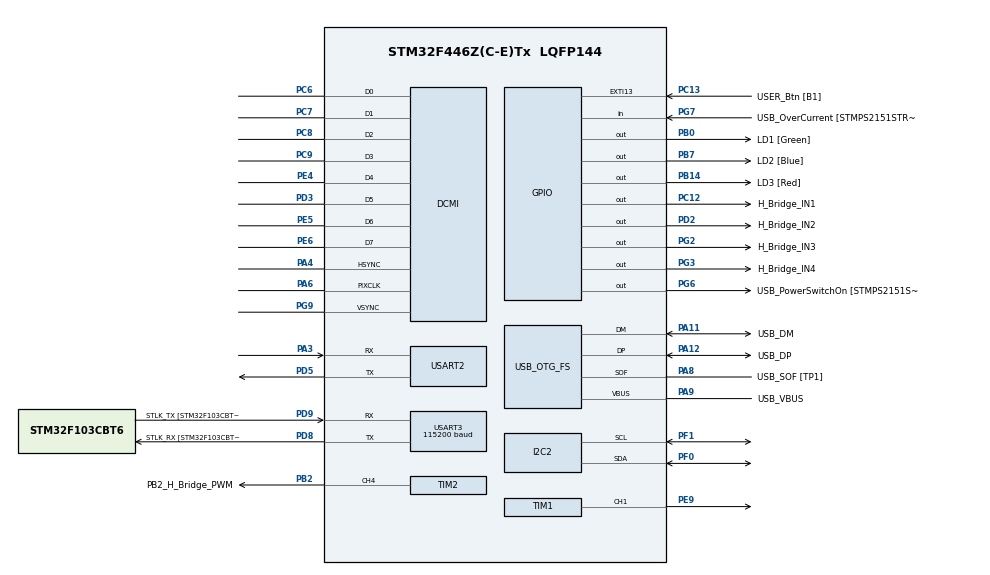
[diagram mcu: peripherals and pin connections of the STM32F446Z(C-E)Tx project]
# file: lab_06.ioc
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DCMI.CaptureRate=DCMI_CR_ALL_FRAME
DCMI.PCKPolarity=DCMI_PCKPOLARITY_RISING
DCMI.VSPolarity=DCMI_VSPOLARITY_HIGH
Dma.DCMI.0.Direction=DMA_PERIPH_TO_MEMORY
Dma.DCMI.0.FIFOMode=DMA_FIFOMODE_ENABLE
Dma.DCMI.0.FIFOThreshold=DMA_FIFO_THRESHOLD_FULL
Dma.DCMI.0.Instance=DMA2_Stream1
Dma.DCMI.0.MemBurst=DMA_MBURST_SINGLE
Dma.DCMI.0.MemDataAlignment=DMA_MDATAALIGN_WORD
Dma.DCMI.0.MemInc=DMA_MINC_ENABLE
Dma.DCMI.0.Mode=DMA_CIRCULAR
Dma.DCMI.0.PeriphBurst=DMA_PBURST_SINGLE
Dma.DCMI.0.PeriphDataAlignment=DMA_PDATAALIGN_WORD
Dma.DCMI.0.PeriphInc=DMA_PINC_DISABLE
Dma.DCMI.0.Priority=DMA_PRIORITY_HIGH
Dma.Request0=DCMI
Dma.Request1=USART3_TX
Dma.Request2=USART2_TX
Dma.USART2_TX.2.Direction=DMA_MEMORY_TO_PERIPH
Dma.USART2_TX.2.FIFOMode=DMA_FIFOMODE_DISABLE
Dma.USART2_TX.2.Instance=DMA1_Stream6
Dma.USART2_TX.2.MemDataAlignment=DMA_MDATAALIGN_BYTE
Dma.USART2_TX.2.MemInc=DMA_MINC_ENABLE
Dma.USART2_TX.2.Mode=DMA_NORMAL
Dma.USART2_TX.2.PeriphDataAlignment=DMA_PDATAALIGN_BYTE
Dma.USART2_TX.2.PeriphInc=DMA_PINC_DISABLE
Dma.USART2_TX.2.Priority=DMA_PRIORITY_HIGH
Dma.USART3_TX.1.Direction=DMA_MEMORY_TO_PERIPH
Dma.USART3_TX.1.FIFOMode=DMA_FIFOMODE_ENABLE
Dma.USART3_TX.1.FIFOThreshold=DMA_FIFO_THRESHOLD_FULL
Dma.USART3_TX.1.Instance=DMA1_Stream3
Dma.USART3_TX.1.MemBurst=DMA_MBURST_SINGLE
Dma.USART3_TX.1.MemDataAlignment=DMA_MDATAALIGN_BYTE
Dma.USART3_TX.1.MemInc=DMA_MINC_ENABLE
Dma.USART3_TX.1.Mode=DMA_NORMAL
Dma.USART3_TX.1.PeriphBurst=DMA_PBURST_SINGLE
Dma.USART3_TX.1.PeriphDataAlignment=DMA_PDATAALIGN_BYTE
Dma.USART3_TX.1.PeriphInc=DMA_PINC_DISABLE
Dma.USART3_TX.1.Priority=DMA_PRIORITY_LOW
Mcu.Family=STM32F4
Mcu.Name=STM32F446Z(C-E)Tx
Mcu.Package=LQFP144
NVIC.DCMI_IRQn=true\:0\:0\:false\:false\:true\:true\:true\:true
NVIC.DMA1_Stream3_IRQn=true\:0\:0\:false\:false\:true\:false\:true\:true
NVIC.DMA1_Stream6_IRQn=true\:0\:0\:false\:false\:true\:false\:true\:true
NVIC.DMA2_Stream1_IRQn=true\:0\:0\:false\:false\:true\:false\:true\:true
NVIC.EXTI15_10_IRQn=true\:0\:0\:false\:false\:true\:true\:true\:true
NVIC.PriorityGroup=NVIC_PRIORITYGROUP_4
NVIC.TIM6_DAC_IRQn=true\:0\:0\:false\:false\:true\:true\:true\:true
NVIC.USART2_IRQn=true\:0\:0\:false\:false\:true\:true\:true\:true
NVIC.USART3_IRQn=true\:0\:0\:false\:false\:true\:true\:true\:true
PA10.GPIO_Label=USB_ID
PA10.Signal=USB_OTG_FS_ID
PA11.GPIO_Label=USB_DM
PA11.Mode=Device_Only
PA11.Signal=USB_OTG_FS_DM
PA12.GPIO_Label=USB_DP
PA12.Mode=Device_Only
PA12.Signal=USB_OTG_FS_DP
PA13.GPIO_Label=TMS
PA13.Mode=Serial_Wire
PA13.Signal=SYS_JTMS-SWDIO
PA14.GPIO_Label=TCK
PA14.Mode=Serial_Wire
PA14.Signal=SYS_JTCK-SWCLK
PA3.Mode=Asynchronous
PA3.Signal=USART2_RX
PA4.Mode=Slave_8_bits_External_Synchro
PA4.Signal=DCMI_HSYNC
PA6.Mode=Slave_8_bits_External_Synchro
PA6.Signal=DCMI_PIXCLK
PA8.GPIO_Label=USB_SOF [TP1]
PA8.Mode=Activate_SOF_FS
PA8.Signal=USB_OTG_FS_SOF
PA9.GPIO_Label=USB_VBUS
PA9.Mode=Activate_VBUS
PA9.Signal=USB_OTG_FS_VBUS
PB0.GPIO_Label=LD1 [Green]
PB0.Signal=GPIO_Output
PB14.GPIO_Label=LD3 [Red]
PB14.Signal=GPIO_Output
PB2.GPIO_Label=PB2_H_Bridge_PWM
PB2.Signal=S_TIM2_CH4
PB7.GPIO_Label=LD2 [Blue]
PB7.Signal=GPIO_Output
PC12.GPIO_Label=H_Bridge_IN1
PC12.Signal=GPIO_Output
PC13.GPIO_Label=USER_Btn [B1]
PC13.Signal=GPXTI13
PC14-OSC32_IN.Mode=LSE-External-Oscillator
PC14-OSC32_IN.Signal=RCC_OSC32_IN
PC15-OSC32_OUT.Mode=LSE-External-Oscillator
PC15-OSC32_OUT.Signal=RCC_OSC32_OUT
PC6.Mode=Slave_8_bits_External_Synchro
PC6.Signal=DCMI_D0
PC7.Mode=Slave_8_bits_External_Synchro
PC7.Signal=DCMI_D1
PC8.Mode=Slave_8_bits_External_Synchro
PC8.Signal=DCMI_D2
PC9.Mode=Slave_8_bits_External_Synchro
PC9.Signal=DCMI_D3
PD2.GPIO_Label=H_Bridge_IN2
PD2.Signal=GPIO_Output
PD3.Mode=Slave_8_bits_External_Synchro
PD3.Signal=DCMI_D5
PD5.Mode=Asynchronous
PD5.Signal=USART2_TX
PD8.GPIO_Label=STLK_RX [STM32F103CBT6_PA3]
PD8.Mode=Asynchronous
PD8.Signal=USART3_TX
PD9.GPIO_Label=STLK_TX [STM32F103CBT6_PA2]
PD9.Mode=Asynchronous
PD9.Signal=USART3_RX
PE4.Mode=Slave_8_bits_External_Synchro
PE4.Signal=DCMI_D4
PE5.Mode=Slave_8_bits_External_Synchro
PE5.Signal=DCMI_D6
PE6.Mode=Slave_8_bits_External_Synchro
PE6.Signal=DCMI_D7
PE9.Signal=S_TIM1_CH1
PF0.Mode=I2C
PF0.Signal=I2C2_SDA
PF1.Mode=I2C
PF1.Signal=I2C2_SCL
PG2.GPIO_Label=H_Bridge_IN3
PG2.Signal=GPIO_Output
PG3.GPIO_Label=H_Bridge_IN4
PG3.Signal=GPIO_Output
PG6.GPIO_Label=USB_PowerSwitchOn [STMPS2151STR_EN]
PG6.Signal=GPIO_Output
PG7.GPIO_Label=USB_OverCurrent [STMPS2151STR_FAULT]
PG7.Signal=GPIO_Input
PG9.Mode=Slave_8_bits_External_Synchro
PG9.Signal=DCMI_VSYNC
PH0-OSC_IN.GPIO_Label=MCO [STM32F103CBT6_PA8]
PH0-OSC_IN.Mode=HSE-External-Clock-Source
PH0-OSC_IN.Signal=RCC_OSC_IN
PH1-OSC_OUT.Mode=HSE-External-Clock-Source
PH1-OSC_OUT.Signal=RCC_OSC_OUT
ProjectManager.HeapSize=0x200
ProjectManager.StackSize=0x400
ProjectManager.TargetToolchain=MDK-ARM V5.32
RCC.48MHZClocksFreq_Value=24000000
RCC.AHBFreq_Value=168000000
RCC.APB1CLKDivider=RCC_HCLK_DIV4
RCC.APB1Freq_Value=42000000
RCC.APB1TimFreq_Value=84000000
RCC.APB2CLKDivider=RCC_HCLK_DIV2
RCC.APB2Freq_Value=84000000
RCC.APB2TimFreq_Value=168000000
RCC.CortexFreq_Value=168000000
RCC.HCLKFreq_Value=168000000
RCC.HSE_VALUE=8000000
RCC.HSI_VALUE=16000000
RCC.PLLM=4
RCC.PLLMUL=RCC_PLL_MUL9
RCC.PLLN=168
RCC.PLLQ=7
RCC.PRESCALERUSB=RCC_USBCLKSOURCE_PLL_DIV1_5
RCC.SYSCLKFreq_VALUE=168000000
RCC.SYSCLKSource=RCC_SYSCLKSOURCE_PLLCLK
RCC.SYSCLKSourceVirtual=RCC_SYSCLKSOURCE_PLLCLK
RCC.USBFreq_Value=48000000
RCC.VCOOutputFreq_Value=336000000
SH.S_TIM1_CH1.0=TIM1_CH1,PWM Generation1 CH1
SH.S_TIM2_CH4.0=TIM2_CH4,PWM Generation4 CH4
TIM1.AutoReloadPreload=TIM_AUTORELOAD_PRELOAD_ENABLE
TIM1.Channel-PWM\ Generation1\ CH1=TIM_CHANNEL_1
TIM1.Period=20
TIM1.Pulse-PWM\ Generation1\ CH1=10
TIM2.AutoReloadPreload=TIM_AUTORELOAD_PRELOAD_DISABLE
TIM2.Channel-PWM\ Generation4\ CH4=TIM_CHANNEL_4
TIM2.Period=255
TIM2.Prescaler=127
USART2.VirtualMode=VM_ASYNC
USART3.BaudRate=115200
USART3.Mode=MODE_TX_RX
USART3.VirtualMode=VM_ASYNC
USB_OTG_FS.VirtualMode=Device_Only
VP_TIM2_VS_ClockSourceINT.Mode=Internal
VP_TIM6_VS_ClockSourceINT.Mode=Enable_Timer
board=NUCLEO-F446ZE

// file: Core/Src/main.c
/* USER CODE BEGIN Header */
/**
  ******************************************************************************
  * @file           : main.c
  * @brief          : Main program body
  ******************************************************************************
  * @attention
  *
  * Copyright (c) 2023 STMicroelectronics.
  * All rights reserved.
  *
  * This software is licensed under terms that can be found in the LICENSE file
  * in the root directory of this software component.
  * If no LICENSE file comes with this software, it is provided AS-IS.
  *
  ******************************************************************************
  */
/* USER CODE END Header */
#include "main.h"

/* USER CODE BEGIN Includes */
/* Includes ------------------------------------------------------------------*/
#include <string.h>
#include <stdio.h>
#include <math.h>
#include <stdbool.h>
#include "config.h"
#include "ov7670.h"
#include "motor.h"

/* USER CODE END Includes */

/* USER CODE BEGIN PV */
#ifndef M_PI
	#define M_PI 3.14159265358979323846
#endif
#define PREAMBLE "\r\n!START!\r\n"
#define DELTA_PREAMBLE "\r\n!DELTA!\r\n"
#define SUFFIX "!END!\r\n"
#define LANE_SUFFIX "!END_LANE!\r\n"
#define FULL_FRAME_N 5 // change to 1 for no temporal compression

#define LINE_START_ROW 120
#define LINE_MID_ROW4 115
#define LINE_MID_ROW3 110
#define LINE_MID_ROW2 105
#define LINE_MID_ROW1 100
#define LINE_END_ROW 95
//#define LINE_START_ROW 135
//#define LINE_END_ROW 110
//#define DYNAMIC_THRESHOLD
#define THRESHOLD 0x70

uint16_t snapshot_buff[IMG_ROWS * IMG_COLS];
uint8_t old_snapshot_buff[IMG_ROWS * IMG_COLS];
uint8_t delta_snapshot_buff[IMG_ROWS * IMG_COLS];
uint8_t tx_buff[sizeof(PREAMBLE) + 3000 + sizeof(SUFFIX) // magik
	 + 5 + sizeof(LANE_SUFFIX)]; // lane stuffs
size_t tx_buff_len = 0;
uint8_t uart_rx_buffer[10] = {0};
bool drive_flag = false;

int length = IMG_ROWS * IMG_COLS;

uint8_t dcmi_flag = 0;
uint8_t tx_half_clpt = 0;
uint8_t tx_full_clpt = 1;
int timer_val;

// lane stuff
int line_row1_i=-1, line_row2_i=-1,line_row2_offset=0, line_row1_offset=0;
int mid_row1_i=-1, mid_row1_offset=0,
   mid_row2_i=-1,mid_row2_offset=0,
   mid_row3_i=-1,mid_row3_offset=0,
   mid_row4_i=-1,mid_row4_offset=0;
int topleft=-1, topright=-1, botleft=-1, botright=-1;
double angle = 0;
int stop = 1;

// Your function definitions here
void uart_dma(void);
void trunc_rle(void);
void send_delta(void);
int fill_lane_data(int iter);
bool find_black_cols(int i, int first_count, int* left, int* right);
bool find_lanes(int* botleft, int* botright, int*topleft, int*topright);
bool compute_angles(int* botleft, int* botright, int*topleft, int*topright,
        double* angle);

int main(void)
{
  /* Reset of all peripherals */
  HAL_Init();

  /* Configure the system clock */
  SystemClock_Config();

  /* Initialize all configured peripherals */
	TIM2->CCR4 = 100;
  MX_GPIO_Init();
  MX_DMA_Init();
  MX_DCMI_Init();
  MX_USART3_UART_Init();
  MX_USB_OTG_FS_PCD_Init();
  MX_I2C2_Init();
  MX_TIM1_Init();
  MX_TIM6_Init();
  MX_USART2_UART_Init();
  MX_TIM2_Init();

  char msg[100];
  HAL_TIM_PWM_Start(&htim1, TIM_CHANNEL_1);

  ov7670_init();
  HAL_Delay(100);
	dcmi_flag = 0;
  ov7670_capture(snapshot_buff);

  // Your startup code here
	uint8_t *buf = (uint8_t*)snapshot_buff;
  memcpy(tx_buff, &PREAMBLE, sizeof(PREAMBLE));
	int frame = 0;

	motor_stop();

	/*hardcoded path
	go_straight();
	HAL_Delay(530);
	go_left();
	HAL_Delay(70);
	go_straight();
	HAL_Delay(420);
	motor_stop();
	HAL_Delay(1000);//before first right turn
	go_left();
	HAL_Delay(30);
	go_right();
  HAL_Delay(120);
	go_straight();
	HAL_Delay(330);
	go_right();
  HAL_Delay(280);
	go_straight();
	HAL_Delay(360);
	go_left();
	HAL_Delay(50);
	motor_stop();
	HAL_Delay(1000);//exit first turn
	go_straight();
	HAL_Delay(940);
	go_left();
	HAL_Delay(20);
	go_right();
  HAL_Delay(270);
	go_straight();
	HAL_Delay(480);
	go_right();
  HAL_Delay(160);
	go_straight();
	HAL_Delay(700);
	go_straight();
	HAL_Delay(200);
	motor_stop();*/
	HAL_UART_Receive_IT(&huart2, uart_rx_buffer, 1);
	HAL_UART_Receive_IT(&huart3, uart_rx_buffer, 1);
	// main loop
  while (1)
  {

		if (HAL_GPIO_ReadPin(USER_Btn_GPIO_Port, USER_Btn_Pin)) {
      HAL_Delay(100);  // debounce

			print_msg("Snap!\n");
		}

		if(dcmi_flag && HAL_UART_GetState(&huart2) != HAL_UART_STATE_BUSY_TX){
			topleft=-1, topright=-1, botleft=-1, botright=-1;
			angle = 0;
			trunc_rle();
			dcmi_flag = 0;
			frame++;
		}
		if(drive_flag){
			char direction = uart_rx_buffer[0];
			int delay = 500;
			if(direction == 'w'){
				go_straight();
				HAL_Delay(delay);
				motor_stop();
			}else
			if(direction == 'a'){
				go_left();
				HAL_Delay(150);
				motor_stop();
			}else
			if(direction == 's'){
				go_backward();
				HAL_Delay(delay);
				motor_stop();
			}else
			if(direction == 'd'){
				go_right();
				HAL_Delay(150);
				motor_stop();
			}
			drive_flag=false;
		}
  }
}

void trunc_rle() {
  int iter = 0;
	uint8_t *buf = (uint8_t*)snapshot_buff;
  memcpy(tx_buff, &PREAMBLE, sizeof(PREAMBLE));
	iter += sizeof(PREAMBLE);

    // dynamic threshold
#ifdef DYNAMIC_THRESHOLD
    int maxp=0,minp= 0xff;
    for (int i = 1; i < length*2;i+=4){
			maxp = (buf[i]>maxp)?buf[i]:maxp;
			minp = (buf[i]<minp)?buf[i]:minp;
    }
    int threshold = (maxp-minp)*0.7; // min(THRESHOLD, )
#else
  int threshold=0x70;
#endif

	// threshold
	for (int i = 1; i < length*2; i+=2){
		if(i/2%IMG_COLS<=4){ // get rid of left black column artifact
       buf[i] = 0x80;
    }
    else{
			buf[i] = (buf[i]>= threshold) ? 0x80 : 0;
		}
	}

	// truncate and RLE
	line_row1_i=-1,line_row2_i=-1,mid_row1_i=-1,mid_row2_i=-1,mid_row3_i=-1,mid_row4_i=-1;
	for (int i = 1; i < length*2; i+=2){
    int count = 1;
		while(1){ // find repeating
			if (i < length*2-2 && buf[i] == buf[i+2]){
			  count++;
			  i+=2;
      }
      else { break; }
		}

		while(count > 0x7F){ // count > 0x7F, need another byte
			tx_buff[iter++] = buf[i] + 0x7F;
			count -= 0x7F;
		}

		// record rle index for lane finding
        if (line_row2_i == -1 && i/2 >= LINE_END_ROW*IMG_COLS){
            line_row2_i = iter;
            line_row2_offset = i/2 - LINE_END_ROW*IMG_COLS+1;
        }
        else if (mid_row1_i == -1 && i/2 >= LINE_MID_ROW1*IMG_COLS){
            mid_row1_i = iter;
            mid_row1_offset = i/2 - LINE_MID_ROW1*IMG_COLS+1;
        }
        else if (mid_row2_i == -1 && i/2 >= LINE_MID_ROW2*IMG_COLS){
            mid_row2_i = iter;
            mid_row2_offset = i/2 - LINE_MID_ROW2*IMG_COLS+1;
        }
        else if (mid_row3_i == -1 && i/2 >= LINE_MID_ROW3*IMG_COLS){
            mid_row3_i = iter;
            mid_row3_offset = i/2 - LINE_MID_ROW3*IMG_COLS+1;
        }
        else if (mid_row4_i == -1 && i/2 >= LINE_MID_ROW4*IMG_COLS){
            mid_row4_i = iter;
            mid_row4_offset = i/2 - LINE_MID_ROW4*IMG_COLS+1;
        }
        else if (line_row1_i == -1 && i/2 >= LINE_START_ROW*IMG_COLS){
            line_row1_i = iter;
            line_row1_offset = i/2 - LINE_START_ROW*IMG_COLS +1;
        }

 		tx_buff[iter++] = buf[i] + count;
   }

	/* for calculating deltas
	for (int i = 1; i < length*2; i+=2){
		old_snapshot_buff[i/2] = buf[i];
	}*/

  memcpy(&tx_buff[iter], &SUFFIX, sizeof(SUFFIX));
	HAL_DCMI_Resume(&hdcmi);

	int size = fill_lane_data(iter+sizeof(SUFFIX));
	uart_send_bin(tx_buff,size);
}
void HAL_UART_RxCpltCallback(UART_HandleTypeDef *huart)
{
  HAL_UART_Receive_IT(&huart2, uart_rx_buffer, 1);
	HAL_UART_Receive_IT(&huart3, uart_rx_buffer, 1);
	drive_flag = true;
}

void send_delta(){
  int iter = 0;
	uint8_t *buf = (uint8_t*)snapshot_buff;
  memcpy(tx_buff, &DELTA_PREAMBLE, sizeof(DELTA_PREAMBLE));
	iter += sizeof(DELTA_PREAMBLE);

	// threshold
	for (int i = 1; i < length*2; i+=2){
		buf[i] = ((buf[i]&0xF0)>= THRESHOLD) ? 0x80 : 0;
	}

	// difference
	for (int i = 1; i < length*2; i+=2){
		int val = buf[i] - old_snapshot_buff[i/2];
		old_snapshot_buff[i/2] = buf[i];
		buf[i/2] = val;
	}

	// truncate and RLE
	for (int i = 0; i < length; i++){

    int count = 1;
		while(1){ // find repeating
			if (i < length-1 && buf[i] == buf[i+1]){
			  count++;
			  i++;
      }
      else { break; }
		}

		while(count >= 0x7F){ // count > 0x75, need another byte
			tx_buff[iter++] = buf[i] + 0x7F;
			count -= 0x7F;
		}
 		tx_buff[iter++] = buf[i] + count;
   }

	memcpy(&tx_buff[iter], &SUFFIX, sizeof(SUFFIX));
	HAL_DCMI_Resume(&hdcmi);

	int size = fill_lane_data(iter+sizeof(SUFFIX));
	uart_send_bin(tx_buff,size);

}

int fill_lane_data(int iter){
	int ret = find_lanes(&botleft, &botright, &topleft, &topright);
	if (ret){
		ret = compute_angles(&botleft, &botright, &topleft, &topright,
   &angle);
	}
	if (!ret) {stop = 1; angle = 0; botleft=topleft=topright=botright=-1;}
  else {stop = 0;}

	tx_buff[iter++] = topleft;
	tx_buff[iter++] = 110;
	tx_buff[iter++] = botleft;
	tx_buff[iter++] = 135;
	tx_buff[iter++] = topright;
	tx_buff[iter++] = 110;
	tx_buff[iter++] = botright;
	tx_buff[iter++] = 135;
	tx_buff[iter++] = stop;
	tx_buff[iter++] = (int8_t)angle;
	memcpy(&tx_buff[iter], &LANE_SUFFIX, sizeof(LANE_SUFFIX));
	return iter + sizeof(LANE_SUFFIX);
}

/*Lane detection*/
// find 2 black regions (lanes) and return middle pixel for each region
// return 0 if no lanes found
// left and right are set to -1 if not found
bool find_black_cols(int i, int first_count, int* left, int* right){
    *left = -1, *right = -1;
    int col = 0,black_count=0;
	  const int old_first_val = tx_buff[i], old_i = i;
    tx_buff[i] = (tx_buff[i]&0x80) + first_count;
    while (col<IMG_COLS){
        if ((tx_buff[i]&0x80) == 0x0){ // black
            int count = 0;
            if (*left==-1){ //leftmost
                int start_col = col;
                count=0;
                while(col+0x7F<IMG_COLS &&
                      (tx_buff[i+1]&0x80) == 0x0){
                    //printf("%d %d\n", tx_buff[i]&0x80, tx_buff[i]&0x7F);
                    count+=tx_buff[i]&0x7F;
                    col+=tx_buff[i++]&0x7F; // 0x7F
                }
                if (col+(tx_buff[i]&0x7f)>=IMG_COLS){
                    count+=IMG_COLS-col;
                }
                else{
                    count+=tx_buff[i]&0x7F;
                }
            *left=start_col + (count)/2; // middle
            }
            else{ //rightmost
                int start_col = col;
                count=0;
                while(col+0x7f<IMG_COLS &&
                      (tx_buff[i+1]&0x80) == 0x0){
                    //printf("%d %d\n", tx_buff[i]&0x80, tx_buff[i]&0x7F);
                    count+=tx_buff[i]&0x7F;
                    col+=tx_buff[i++]&0x7F; // 0x7F
                }
                if (col+(tx_buff[i]&0x7f)>=IMG_COLS){
                    count+=IMG_COLS-col;
                }
                else{
                count+=tx_buff[i]&0x7F;
                }
                *right=start_col + (count)/2; // middle
            }
            black_count+=count;
        }
        //printf("%d %d\n", tx_buff[i]&0x80, tx_buff[i]&0x7F);
        col+=tx_buff[i++]&0x7F;
    }
	  tx_buff[old_i] = old_first_val;
    //printf("black_count=%d\n",black_count);
    if (black_count > 50 || black_count < 5)
    {
        //printf("No lanes found\n");
        return 0;
    }
    // if only found one col, determine left or right lane
    if (*right == -1){
        if (*left > IMG_COLS/2){
            *right = *left;
            *left = -1;
        }
    }
    return 1;
}

// return 0 if 0 lanes found
bool find_lanes(int* botleft, int* botright, int*topleft, int*topright){
    int i, col;
    int black_count=0;
    if (line_row1_i == -1 || line_row2_i == -1){
        //printf("dunno what index line should be\n");
        return 0;
    }

    // TODO: virtual lines, line extensions
    bool ret1 = find_black_cols(line_row1_i,line_row1_offset,botleft,botright); // bottom
    bool ret2 = find_black_cols(line_row2_i,line_row2_offset,topleft,topright); // top

    // if lane straddles center
    if (*botright!=-1 && *topleft!=-1 && *topright==-1 && *botleft==-1){
        int tmpleft, tmpright;
        // check if the mid rows have a black col within the bounds of botright topleft
        if (find_black_cols(mid_row1_i,mid_row1_offset,&tmpleft,&tmpright) &&
            ((tmpleft!=-1 && tmpleft<*botright+5 && tmpleft>*topleft-5) ||
             (tmpright!=-1 && tmpright<*botright+5 && tmpright>*topleft-5))){
        if (find_black_cols(mid_row2_i,mid_row2_offset,&tmpleft,&tmpright) &&
            ((tmpleft!=-1 && tmpleft<*botright+5 && tmpleft>*topleft-5) ||
             (tmpright!=-1 && tmpright<*botright+5 && tmpright>*topleft-5))){
        if (find_black_cols(mid_row3_i,mid_row3_offset,&tmpleft,&tmpright) &&
            ((tmpleft!=-1 && tmpleft<*botright+5 && tmpleft>*topleft-5) ||
             (tmpright!=-1 && tmpright<*botright+5 && tmpright>*topleft-5))){
        if (find_black_cols(mid_row4_i,mid_row4_offset,&tmpleft,&tmpright) &&
            ((tmpleft!=-1 && tmpleft<*botright+5 && tmpleft>*topleft-5) ||
             (tmpright!=-1 && tmpright<*botright+5 && tmpright>*topleft-5))){
        *topright = *topleft;
        *topleft = -1;
        }}}}
    }
    if (*botleft!=-1 && *topright!=-1 && *topleft==-1 && *botright==-1){
        int tmpleft, tmpright;
        // check if the mid rows have a black col within the bounds of botleft topright
        if (find_black_cols(mid_row1_i,mid_row1_offset,&tmpleft,&tmpright) &&
            ((tmpleft!=-1 && tmpleft<*topright+5 && tmpleft>*botleft-5) ||
             (tmpright!=-1 && tmpright<*topright+5 && tmpright>*botleft-5))){
        if (find_black_cols(mid_row2_i,mid_row2_offset,&tmpleft,&tmpright) &&
            ((tmpleft!=-1 && tmpleft<*topright+5 && tmpleft>*botleft-5) ||
             (tmpright!=-1 && tmpright<*topright+5 && tmpright>*botleft-5))){
        if (find_black_cols(mid_row3_i,mid_row3_offset,&tmpleft,&tmpright) &&
            ((tmpleft!=-1 && tmpleft<*topright+5 && tmpleft>*botleft-5) ||
             (tmpright!=-1 && tmpright<*topright+5 && tmpright>*botleft-5))){
        if (find_black_cols(mid_row4_i,mid_row4_offset,&tmpleft,&tmpright) &&
            ((tmpleft!=-1 && tmpleft<*topright+5 && tmpleft>*botleft-5) ||
             (tmpright!=-1 && tmpright<*topright+5 && tmpright>*botleft-5))){
        *botleft = *topright;
        *topright = -1;
        }}}}
    }

    // return 0 if neither lane found
    if (!ret1 && !ret2){
			return 0;
		}
		else{
        //printf("line1=(%d,%d), (%d,%d)\n",*botleft,LINE_START_ROW,*topleft,LINE_END_ROW);
        //printf("line2=(%d,%d), (%d,%d)\n",*botright,LINE_START_ROW,*topright,LINE_END_ROW);
        return 1;
    }
}

bool compute_angles(int* botleft, int* botright, int*topleft, int*topright,
        double* angle){
    if ((*botleft == -1 || *topleft==-1) && (*botright == -1 || *topright==-1)){ // no lanes
			return 0;
		}
		else if (*botleft == -1 || *topleft==-1){ // only see right lane
        *angle = atan2(*topright-*botright,LINE_START_ROW-LINE_END_ROW)*180/M_PI;
		}
    else if (*botright == -1 || *topright==-1){ // only see left lane
        *angle = atan2(*topleft-*botleft,LINE_START_ROW-LINE_END_ROW)*180/M_PI;
		}
    else {
        float right_ang = atan2(*topright-*botright,LINE_START_ROW-LINE_END_ROW)*180/M_PI;
        //printf("right=%f\n",right_ang);
        float left_ang = atan2(*topleft-*botleft,LINE_START_ROW-LINE_END_ROW)*180/M_PI;
        //printf("left=%f\n",left_ang);
        *angle = (right_ang + left_ang)/2;
		}
    //printf("angle=%f\n",*angle);
    return 1;
}

/* lab 6 code
void trunc_rle() {
  int iter = 0;
	uint8_t *buf = (uint8_t*)snapshot_buff;
  memcpy(tx_buff, &PREAMBLE, sizeof(PREAMBLE));
	iter += sizeof(PREAMBLE);

	// truncate and RLE
	for (int i = 1; i < length*2; i+=2){
    int count = 1;
		while(1){ // find repeating
			if (i < length*2-2 && (buf[i]&0xF0) == (buf[i+2]&0xF0)){
			  count++;
			  i+=2;
      }
      else { break; }
		}

		while(count > 0xF){ // count > 15, need another byte
			tx_buff[iter++] = (buf[i]&0xF0) + 0xF;
			count -= 0xF;
		}
 		tx_buff[iter++] = (buf[i]&0xF0) + count;
   }

	// for calculating deltas
	for (int i = 1; i < length*2; i+=2){
		old_snapshot_buff[i/2] = buf[i];
	}

  memcpy(&tx_buff[iter], &SUFFIX, sizeof(SUFFIX));
	HAL_DCMI_Resume(&hdcmi);

	uart_send_bin(tx_buff,iter+sizeof(SUFFIX));
}

void send_delta(){
  int iter = 0;
	uint8_t *buf = (uint8_t*)snapshot_buff;
  memcpy(tx_buff, &DELTA_PREAMBLE, sizeof(DELTA_PREAMBLE));
	iter += sizeof(DELTA_PREAMBLE);

	// difference
	for (int i = 1; i < length*2; i+=2){
		int val = (0xF0 & buf[i]) - (0xF0 &old_snapshot_buff[i/2]);
		old_snapshot_buff[i/2] = buf[i];
		buf[i/2] = val;
	}

	// truncate and RLE
	for (int i = 0; i < length; i++){
    int count = 1;
		while(1){ // find repeating
			if (i < length-1 && (buf[i]&0xF0) == (buf[i+1]&0xF0)){
			  count++;
			  i++;
      }
      else { break; }
		}

		while(count >= 0xF){ // count > 15, need another byte
			tx_buff[iter++] = (buf[i]&0xF0) + 0xF;
			count -= 0xF;
		}
 		tx_buff[iter++] = (buf[i]&0xF0) + count;
   }

	memcpy(&tx_buff[iter], &SUFFIX, sizeof(SUFFIX));
	HAL_DCMI_Resume(&hdcmi);

	uart_send_bin(tx_buff,iter+sizeof(SUFFIX));

}

void uart_dma() {
  // Send image data through serial port.
  // Your code here
	//timer_val = __HAL_TIM_GET_COUNTER(&htim6);
  tx_buff_len = 0;
	uint8_t *buf = (uint8_t*)snapshot_buff;
  memcpy(tx_buff, &PREAMBLE, sizeof(PREAMBLE));
	tx_buff_len += sizeof(PREAMBLE);

	for(int i = 1; i < length*2; i+=2){
		tx_buff[tx_buff_len++] = buf[i];
	}
  //memcpy(&tx_buff[tx_buff_len], &SUFFIX, sizeof(SUFFIX));
	HAL_DCMI_Resume(&hdcmi);

	uart_send_bin(tx_buff,sizeof(tx_buff));

	// timing code
  while (HAL_UART_GetState(&huart3)!= HAL_UART_STATE_READY){HAL_Delay(0);}
	int new_val = __HAL_TIM_GET_COUNTER(&htim6);
	sprintf(msg, "Cycles taken for uart send: %d", new_val - timer_val);
	print_msg(msg);

}
*/

/* USER CODE END PV */
